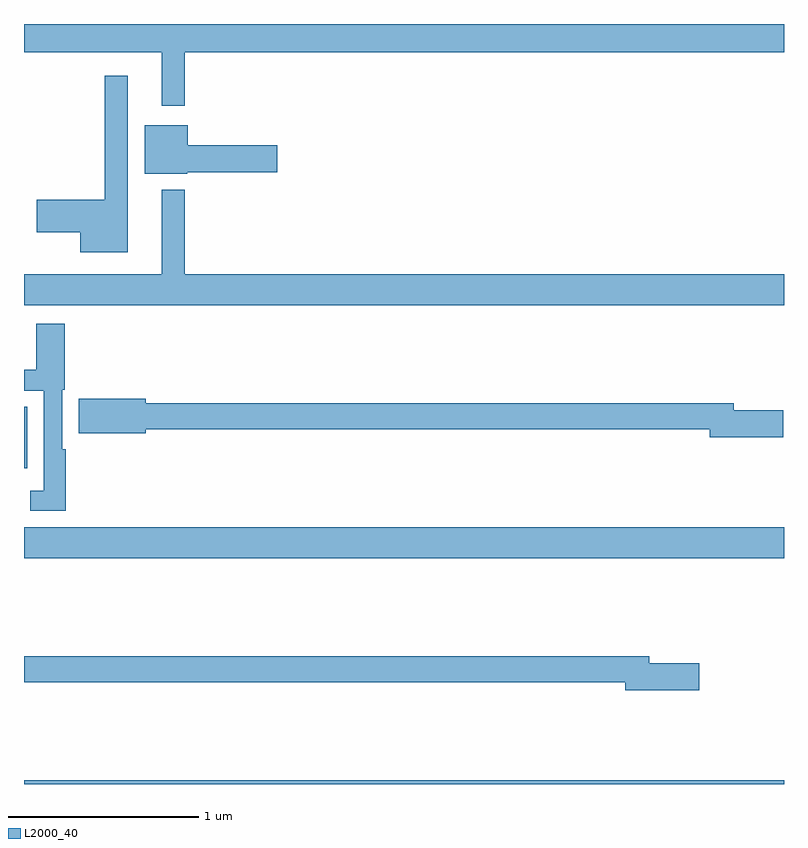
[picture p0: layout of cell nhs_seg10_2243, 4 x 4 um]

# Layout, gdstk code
import gdstk
lib = gdstk.Library(unit=1e-6, precision=1e-09)
def R(c, l, rs):  # rectangles x0, y0, x1, y1
    for r in rs: c.add(gdstk.rectangle(r[:2], r[2:], *l))
def P(c, l, *ps):  # polygons
    for p in ps: c.add(gdstk.Polygon(p, *l))
L2000_40 = (2000, 40)

nhs_seg10_2243 = lib.new_cell('nhs_seg10_2243')
R(nhs_seg10_2243, L2000_40, [(231,1260.5,235,1260.52), (231,1261.688,235,1261.852), (231,1262.163,231.016,1262.486)])
P(nhs_seg10_2243, L2000_40, [(231.847,1264.352),(235,1264.352),(235,1264.5),(231,1264.5),(231,1264.352),(231.725,1264.352),(231.725,1264.071),(231.847,1264.071)],
  [(231.547,1264.228),(231.426,1264.228),(231.426,1263.575),(231.066,1263.575),(231.066,1263.404),(231.296,1263.404),(231.296,1263.299),(231.547,1263.299)],
  [(231.858,1263.719),(232.333,1263.719),(232.333,1263.861),(231.862,1263.861),(231.862,1263.967),(231.635,1263.967),(231.635,1263.713),(231.858,1263.713)],
  [(235,1263.184),(231.847,1263.184),(231.847,1263.628),(231.725,1263.628),(231.725,1263.184),(231,1263.184),(231,1263.02),(235,1263.02)],
  [(231.221,1262.261),(231.201,1262.261),(231.201,1262.574),(231.215,1262.574),(231.215,1262.923),(231.065,1262.923),(231.065,1262.68),(231,1262.68),(231,1262.571),(231.105,1262.571),(231.105,1262.043),(231.033,1262.043),(231.033,1261.938),(231.221,1261.938)],
  [(234.997,1262.468),(234.736,1262.468),(234.736,1262.504),(231.64,1262.504),(231.64,1262.528),(231.288,1262.528),(231.288,1262.345),(231.64,1262.345),(231.64,1262.368),(234.608,1262.368),(234.608,1262.326),(234.997,1262.326)],
  [(234.553,1261.136),(234.292,1261.136),(234.292,1261.172),(231,1261.172),(231,1261.036),(234.164,1261.036),(234.164,1260.994),(234.553,1260.994)])

lib.write_gds('nhs_seg10_2243.gds')
